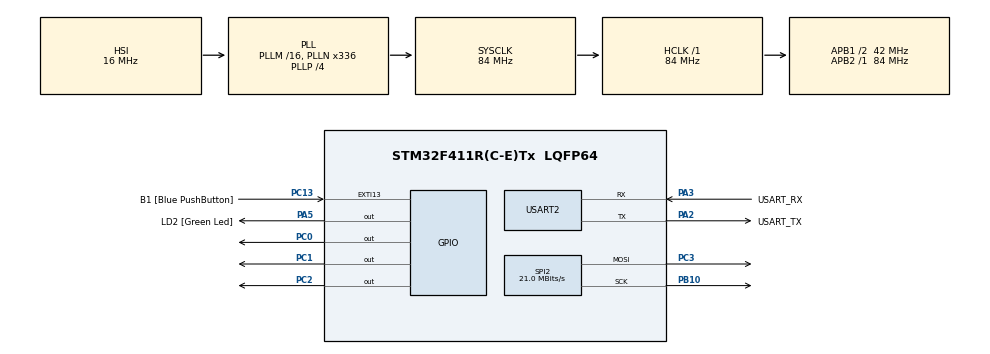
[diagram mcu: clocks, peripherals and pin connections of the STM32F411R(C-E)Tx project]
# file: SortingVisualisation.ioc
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Mcu.Family=STM32F4
Mcu.Name=STM32F411R(C-E)Tx
Mcu.Package=LQFP64
NVIC.PriorityGroup=NVIC_PRIORITYGROUP_0
PA13.GPIO_Label=TMS
PA13.Mode=Serial_Wire
PA13.Signal=SYS_JTMS-SWDIO
PA14.GPIO_Label=TCK
PA14.Mode=Serial_Wire
PA14.Signal=SYS_JTCK-SWCLK
PA2.GPIO_Label=USART_TX
PA2.Mode=Asynchronous
PA2.Signal=USART2_TX
PA3.GPIO_Label=USART_RX
PA3.Mode=Asynchronous
PA3.Signal=USART2_RX
PA5.GPIO_Label=LD2 [Green Led]
PA5.Signal=GPIO_Output
PB10.Mode=TX_Only_Simplex_Unidirect_Master
PB10.Signal=SPI2_SCK
PB3.GPIO_Label=SWO
PB3.Signal=SYS_JTDO-SWO
PC0.GPIO_Speed=GPIO_SPEED_FREQ_HIGH
PC0.Signal=GPIO_Output
PC1.GPIO_Speed=GPIO_SPEED_FREQ_HIGH
PC1.Signal=GPIO_Output
PC13-ANTI_TAMP.GPIO_Label=B1 [Blue PushButton]
PC13-ANTI_TAMP.GPIO_ModeDefaultEXTI=GPIO_MODE_IT_FALLING
PC13-ANTI_TAMP.Signal=GPXTI13
PC14-OSC32_IN.Mode=LSE-External-Oscillator
PC14-OSC32_IN.Signal=RCC_OSC32_IN
PC15-OSC32_OUT.Mode=LSE-External-Oscillator
PC15-OSC32_OUT.Signal=RCC_OSC32_OUT
PC2.GPIO_Speed=GPIO_SPEED_FREQ_HIGH
PC2.Signal=GPIO_Output
PC3.Mode=TX_Only_Simplex_Unidirect_Master
PC3.Signal=SPI2_MOSI
PH0\ -\ OSC_IN.Mode=HSE-External-Clock-Source
PH0\ -\ OSC_IN.Signal=RCC_OSC_IN
PH1\ -\ OSC_OUT.Mode=HSE-External-Clock-Source
PH1\ -\ OSC_OUT.Signal=RCC_OSC_OUT
ProjectManager.HeapSize=0x400
ProjectManager.StackSize=0x800
ProjectManager.TargetToolchain=STM32CubeIDE
RCC.48MHZClocksFreq_Value=84000000
RCC.AHBFreq_Value=84000000
RCC.APB1CLKDivider=RCC_HCLK_DIV2
RCC.APB1Freq_Value=42000000
RCC.APB1TimFreq_Value=84000000
RCC.APB2Freq_Value=84000000
RCC.APB2TimFreq_Value=84000000
RCC.CortexFreq_Value=84000000
RCC.FLatency-AdvancedSettings=FLASH_LATENCY_2
RCC.HCLKFreq_Value=84000000
RCC.HSE_VALUE=8000000
RCC.HSI_VALUE=16000000
RCC.PLLN=336
RCC.PLLP=RCC_PLLP_DIV4
RCC.SYSCLKFreq_VALUE=84000000
RCC.SYSCLKSource=RCC_SYSCLKSOURCE_PLLCLK
RCC.VCOOutputFreq_Value=336000000
SPI2.BaudRatePrescaler=SPI_BAUDRATEPRESCALER_2
SPI2.CalculateBaudRate=21.0 MBits/s
SPI2.Direction=SPI_DIRECTION_2LINES
SPI2.Mode=SPI_MODE_MASTER
SPI2.VirtualType=VM_MASTER
USART2.VirtualMode=VM_ASYNC
board=NUCLEO-F411RE

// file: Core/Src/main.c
/* USER CODE BEGIN Header */
/**
  ******************************************************************************
  * @file           : main.c
  * @brief          : Main program body
  ******************************************************************************
  * @attention
  *
  * <h2><center>&copy; Copyright (c) 2021 STMicroelectronics.
  * All rights reserved.</center></h2>
  *
  * This software component is licensed by ST under BSD 3-Clause license,
  * the "License"; You may not use this file except in compliance with the
  * License. You may obtain a copy of the License at:
  *                        opensource.org/licenses/BSD-3-Clause
  *
  ******************************************************************************
  */
/* USER CODE END Header */
#include "main.h"

/* USER CODE BEGIN Includes */
#include "spi_ili9341.h"
/* USER CODE END Includes */

SPI_HandleTypeDef hspi2;

UART_HandleTypeDef huart2;

void SystemClock_Config(void);
static void MX_GPIO_Init(void);
static void MX_USART2_UART_Init(void);
static void MX_SPI2_Init(void);
/* USER CODE BEGIN PFP */
void TFT9341_ini(uint16_t w_size, uint16_t h_size);
void TFT9341_FillScreen(uint16_t color);
void TFT9341_FillRect(uint16_t x1, uint16_t y1, uint16_t x2, uint16_t y2, uint16_t color);
void merge(int* arr, int left, int mid, int right);
void merge_sort(int* arr, int left, int right);
/* USER CODE END PFP */

int main(void)
{

  /* MCU Configuration--------------------------------------------------------*/

  /* Reset of all peripherals, Initializes the Flash interface and the Systick. */
  HAL_Init();

  /* Configure the system clock */
  SystemClock_Config();

  /* Initialize all configured peripherals */
  MX_GPIO_Init();
  MX_USART2_UART_Init();
  MX_SPI2_Init();
  /* USER CODE BEGIN 2 */
  //инициализация дисплея
  TFT9341_ini(240, 320);
  TFT9341_FillScreen(TFT9341_BLACK);
  //создание массива данных
  int sorting_data[160];
  for(int i = 0; i < 160; i++)
  {
  	  sorting_data[i] = i;
  }

  srand(HAL_GetTick()); //запуск рандомайзера
  int j;

  /* USER CODE END 2 */

  /* Infinite loop */
  while (1)
  {

    /* USER CODE BEGIN 3 */
	  //перемешивание массива

	    for (int i = 160 - 1; i >= 1; i--)
	        {
	            j = rand() % (i + 1);

	            int tmp = sorting_data[j];
	            sorting_data[j] = sorting_data[i];
	            sorting_data[i] = tmp;
	        }

	    //первичная отрисовка
	    TFT9341_FillScreen(TFT9341_BLACK);
	    for(int i = 0; i < 160; i++)
	    {
	  	  TFT9341_FillRect(0, i*2, sorting_data[i], i*2+1, TFT9341_GREEN);
	    }

	    //сортировка слиянием
	    merge_sort(sorting_data, 0, 159);

	    HAL_Delay(2000);

	    //перемешивание массива
		for (int i = 160 - 1; i >= 1; i--)
			{
				j = rand() % (i + 1);

				int tmp = sorting_data[j];
				sorting_data[j] = sorting_data[i];
				sorting_data[i] = tmp;
			}

		//первичная отрисовка
		TFT9341_FillScreen(TFT9341_BLACK);
		for(int i = 0; i < 160; i++)
		{
		  TFT9341_FillRect(0, i*2, sorting_data[i], i*2+1, TFT9341_GREEN);
		}
	    //сортировка выбором
	    int min_idx, temp;
	  	for (int i = 0; i < 160-1; i++)
	  	{
	  		min_idx = i;
	  		for (j = i + 1; j < 160; j++)
	  			if (sorting_data[j] < sorting_data[min_idx])
	  				min_idx = j;

	  		TFT9341_FillRect(0, i*2, sorting_data[i], i*2+1, TFT9341_RED);
	  		TFT9341_FillRect(0, min_idx*2, sorting_data[min_idx], min_idx*2+1, TFT9341_RED);

	  		temp = sorting_data[i];
	  		sorting_data[i] = sorting_data[min_idx];
	  		sorting_data[min_idx] = temp;

	  		HAL_Delay(100);
	  		TFT9341_FillRect(0, i*2, 239, i*2+1, TFT9341_BLACK);
	  		TFT9341_FillRect(0, min_idx*2, 239, min_idx*2+1, TFT9341_BLACK);

	  		TFT9341_FillRect(0, i*2, sorting_data[i], i*2+1, TFT9341_GREEN);
	  		TFT9341_FillRect(0, min_idx*2, sorting_data[min_idx], min_idx*2+1, TFT9341_GREEN);

	  		HAL_Delay(50);
	  	}
	  	HAL_Delay(2000);
  }
  /* USER CODE END 3 */
}

void SystemClock_Config(void)
{
  RCC_OscInitTypeDef RCC_OscInitStruct = {0};
  RCC_ClkInitTypeDef RCC_ClkInitStruct = {0};

  /** Configure the main internal regulator output voltage
  */
  __HAL_RCC_PWR_CLK_ENABLE();
  __HAL_PWR_VOLTAGESCALING_CONFIG(PWR_REGULATOR_VOLTAGE_SCALE1);
  /** Initializes the RCC Oscillators according to the specified parameters
  * in the RCC_OscInitTypeDef structure.
  */
  RCC_OscInitStruct.OscillatorType = RCC_OSCILLATORTYPE_HSI;
  RCC_OscInitStruct.HSIState = RCC_HSI_ON;
  RCC_OscInitStruct.HSICalibrationValue = RCC_HSICALIBRATION_DEFAULT;
  RCC_OscInitStruct.PLL.PLLState = RCC_PLL_ON;
  RCC_OscInitStruct.PLL.PLLSource = RCC_PLLSOURCE_HSI;
  RCC_OscInitStruct.PLL.PLLM = 16;
  RCC_OscInitStruct.PLL.PLLN = 336;
  RCC_OscInitStruct.PLL.PLLP = RCC_PLLP_DIV4;
  RCC_OscInitStruct.PLL.PLLQ = 4;
  if (HAL_RCC_OscConfig(&RCC_OscInitStruct) != HAL_OK)
  {
    Error_Handler();
  }
  /** Initializes the CPU, AHB and APB buses clocks
  */
  RCC_ClkInitStruct.ClockType = RCC_CLOCKTYPE_HCLK|RCC_CLOCKTYPE_SYSCLK
                              |RCC_CLOCKTYPE_PCLK1|RCC_CLOCKTYPE_PCLK2;
  RCC_ClkInitStruct.SYSCLKSource = RCC_SYSCLKSOURCE_PLLCLK;
  RCC_ClkInitStruct.AHBCLKDivider = RCC_SYSCLK_DIV1;
  RCC_ClkInitStruct.APB1CLKDivider = RCC_HCLK_DIV2;
  RCC_ClkInitStruct.APB2CLKDivider = RCC_HCLK_DIV1;

  if (HAL_RCC_ClockConfig(&RCC_ClkInitStruct, FLASH_LATENCY_2) != HAL_OK)
  {
    Error_Handler();
  }
}

static void MX_SPI2_Init(void)
{

  /* SPI2 parameter configuration*/
  hspi2.Instance = SPI2;
  hspi2.Init.Mode = SPI_MODE_MASTER;
  hspi2.Init.Direction = SPI_DIRECTION_2LINES;
  hspi2.Init.DataSize = SPI_DATASIZE_8BIT;
  hspi2.Init.CLKPolarity = SPI_POLARITY_LOW;
  hspi2.Init.CLKPhase = SPI_PHASE_1EDGE;
  hspi2.Init.NSS = SPI_NSS_SOFT;
  hspi2.Init.BaudRatePrescaler = SPI_BAUDRATEPRESCALER_2;
  hspi2.Init.FirstBit = SPI_FIRSTBIT_MSB;
  hspi2.Init.TIMode = SPI_TIMODE_DISABLE;
  hspi2.Init.CRCCalculation = SPI_CRCCALCULATION_DISABLE;
  hspi2.Init.CRCPolynomial = 10;
  if (HAL_SPI_Init(&hspi2) != HAL_OK)
  {
    Error_Handler();
  }

}

static void MX_USART2_UART_Init(void)
{

  huart2.Instance = USART2;
  huart2.Init.BaudRate = 115200;
  huart2.Init.WordLength = UART_WORDLENGTH_8B;
  huart2.Init.StopBits = UART_STOPBITS_1;
  huart2.Init.Parity = UART_PARITY_NONE;
  huart2.Init.Mode = UART_MODE_TX_RX;
  huart2.Init.HwFlowCtl = UART_HWCONTROL_NONE;
  huart2.Init.OverSampling = UART_OVERSAMPLING_16;
  if (HAL_UART_Init(&huart2) != HAL_OK)
  {
    Error_Handler();
  }

}

static void MX_GPIO_Init(void)
{
  GPIO_InitTypeDef GPIO_InitStruct = {0};

  /* GPIO Ports Clock Enable */
  __HAL_RCC_GPIOC_CLK_ENABLE();
  __HAL_RCC_GPIOH_CLK_ENABLE();
  __HAL_RCC_GPIOA_CLK_ENABLE();
  __HAL_RCC_GPIOB_CLK_ENABLE();

  /*Configure GPIO pin Output Level */
  HAL_GPIO_WritePin(GPIOC, GPIO_PIN_0|GPIO_PIN_1|GPIO_PIN_2, GPIO_PIN_RESET);

  /*Configure GPIO pin Output Level */
  HAL_GPIO_WritePin(LD2_GPIO_Port, LD2_Pin, GPIO_PIN_RESET);

  /*Configure GPIO pin : B1_Pin */
  GPIO_InitStruct.Pin = B1_Pin;
  GPIO_InitStruct.Mode = GPIO_MODE_IT_FALLING;
  GPIO_InitStruct.Pull = GPIO_NOPULL;
  HAL_GPIO_Init(B1_GPIO_Port, &GPIO_InitStruct);

  /*Configure GPIO pins : PC0 PC1 PC2 */
  GPIO_InitStruct.Pin = GPIO_PIN_0|GPIO_PIN_1|GPIO_PIN_2;
  GPIO_InitStruct.Mode = GPIO_MODE_OUTPUT_PP;
  GPIO_InitStruct.Pull = GPIO_NOPULL;
  GPIO_InitStruct.Speed = GPIO_SPEED_FREQ_HIGH;
  HAL_GPIO_Init(GPIOC, &GPIO_InitStruct);

  /*Configure GPIO pin : LD2_Pin */
  GPIO_InitStruct.Pin = LD2_Pin;
  GPIO_InitStruct.Mode = GPIO_MODE_OUTPUT_PP;
  GPIO_InitStruct.Pull = GPIO_NOPULL;
  GPIO_InitStruct.Speed = GPIO_SPEED_FREQ_LOW;
  HAL_GPIO_Init(LD2_GPIO_Port, &GPIO_InitStruct);

}

/* USER CODE BEGIN 4 */
void merge(int* arr, int left, int mid, int right)
{
	int i, j, k;
	int n1 = mid - left + 1;
	int n2 = right - mid;
	int* l = (int*)malloc(n1 * sizeof(int));
	int* r = (int*)malloc(n2 * sizeof(int));

	int graphicsArr[160];

	for(int i = 0; i < 160; i++)
		graphicsArr[i] = -1;

	for (i = 0; i < n1; i++)
	{
		l[i] = arr[left + i];
		graphicsArr[left + i] = left + i;
		//TFT9341_FillRect(0, (left + i)*2, arr[i], (left + i)*2+1, TFT9341_RED);
	}
	for (j = 0; j < n2; j++)
	{
		r[j] = arr[mid + j + 1];
		graphicsArr[mid + j + 1] = mid + j + 1;
		//TFT9341_FillRect(0, (mid + j + 1)*2, arr[i], (mid + j + 1)*2+1, TFT9341_RED);
	}

	for(int i = 0; i < 160; i++)
	{
		if(graphicsArr[i] != -1)
		{
			TFT9341_FillRect(0, i*2, arr[i], i*2+1, TFT9341_RED);
			HAL_Delay(9);
		}
	}

	HAL_Delay(100);

	i = 0; j = 0; k = left;
	while ((i < n1) && (j < n2)) {
		if (l[i] <= r[j]) {
			arr[k] = l[i];
			i++;
		}
		else {
			arr[k] = r[j];
			j++;
		}
		k++;
	}

	while (i < n1) {
		arr[k] = l[i];
		i++;
		k++;
	}

	while (j < n2) {
		arr[k] = r[j];
		j++;
		k++;
	}

	for(int i = 0; i < 160; i++)
		{
			if(graphicsArr[i] != -1)
			{
				TFT9341_FillRect(0, i*2, 239, i*2+1, TFT9341_BLACK);
			}
		}
	for(int i = 0; i < 160; i++)
	{
	  TFT9341_FillRect(0, i*2, arr[i], i*2+1, TFT9341_GREEN);
	}
	HAL_Delay(100);
}

void merge_sort(int* arr, int left, int right)
{
	if (left >= right)
		return;
	int mid = left + (right - left) / 2;
	merge_sort(arr, left, mid);
	merge_sort(arr, mid + 1, right);
	merge(arr, left, mid, right);
}
/* USER CODE END 4 */

void Error_Handler(void)
{
  __disable_irq();
  while (1)
  {
  }
}

/************************ (C) COPYRIGHT STMicroelectronics *****END OF FILE****/
